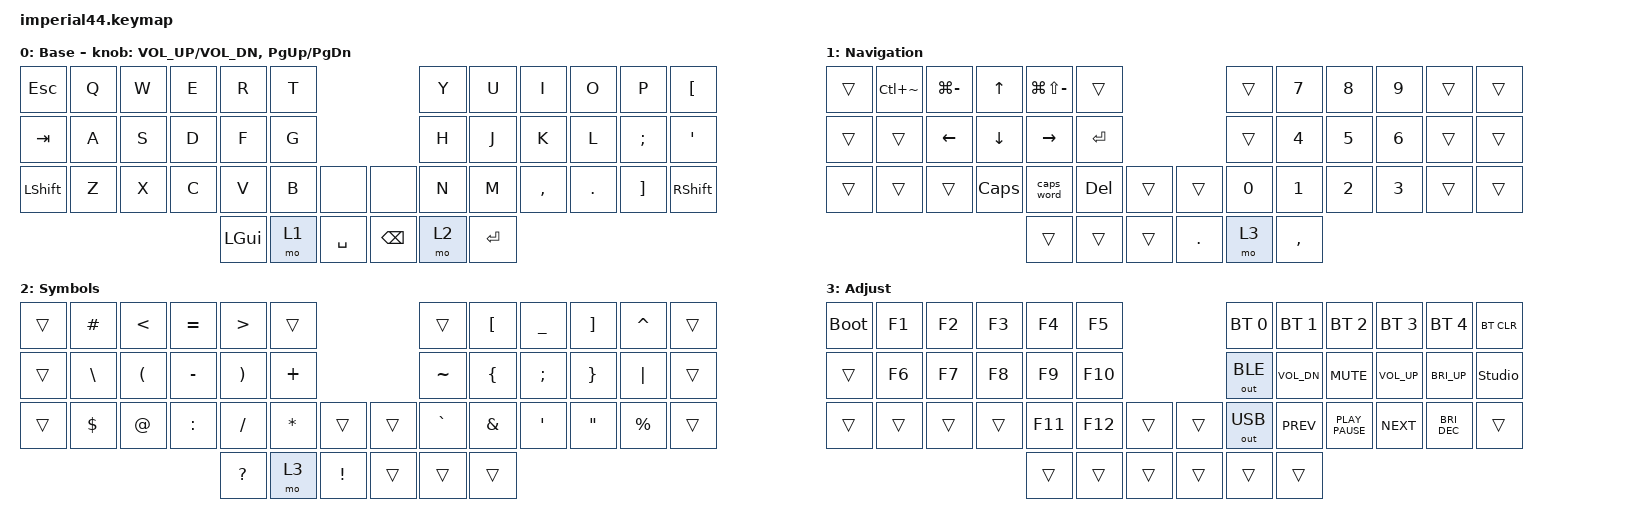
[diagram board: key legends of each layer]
#include "keys_ru.h"
#include <behaviors.dtsi>
#include <dt-bindings/zmk/bt.h>
#include <dt-bindings/zmk/keys.h>
#include <dt-bindings/zmk/outputs.h>

/ {
    keymap {
        compatible = "zmk,keymap";

        base {
            bindings = <
&kp ESC    &kp Q  &kp W  &kp E  &kp R         &kp T                              &kp Y  &kp U      &kp I      &kp O    &kp P              &kp LEFT_BRACKET
&kp TAB    &kp A  &kp S  &kp D  &kp F         &kp G                              &kp H  &kp J      &kp K      &kp L    &kp SEMI           &kp SINGLE_QUOTE
&kp LSHFT  &kp Z  &kp X  &kp C  &kp V         &kp B  &none        &none          &kp N  &kp M      &kp COMMA  &kp DOT  &kp RIGHT_BRACKET  &kp RSHFT
                                &kp LEFT_GUI  &mo 1  &kp SPACE    &kp BACKSPACE  &mo 2  &kp ENTER
            >;

            display-name = "Base";
            sensor-bindings =
                <&inc_dec_kp C_VOL_UP C_VOL_DN>,
                <&inc_dec_kp PG_UP PG_DN>;
        };

        nav {
            bindings = <
&trans  &kp LC(TILDE)  &kp LG(MINUS)  &kp UP    &kp LG(LS(MINUS))  &trans                            &trans  &kp N7        &kp N8        &kp N9        &trans  &trans
&trans  &trans         &kp LEFT       &kp DOWN  &kp RIGHT          &kp ENTER                         &trans  &kp NUMBER_4  &kp NUMBER_5  &kp N6        &trans  &trans
&trans  &trans         &trans         &kp CAPS  &caps_word         &kp DELETE  &trans    &trans      &kp N0  &kp N1        &kp NUMBER_2  &kp NUMBER_3  &trans  &trans
                                                &trans             &trans      &trans    &kp PERIOD  &mo 3   &kp COMMA
            >;

            display-name = "Navigation";
        };

        sym {
            bindings = <
&trans  &kp HASH    &kp LT    &kp EQUAL  &kp GT        &trans                            &trans     &kp LBKT       &kp UNDER         &kp RBKT           &kp CARET    &trans
&trans  &kp BSLH    &kp LPAR  &kp MINUS  &kp RPAR      &kp PLUS                          &kp TILDE  &kp LBRC       &kp SEMI          &kp RBRC           &kp PIPE     &trans
&trans  &kp DOLLAR  &kp AT    &kp COLON  &kp FSLH      &kp ASTERISK  &trans      &trans  &kp GRAVE  &kp AMPERSAND  &kp SINGLE_QUOTE  &kp DOUBLE_QUOTES  &kp PERCENT  &trans
                                         &kp QUESTION  &mo 3         &kp EXCL    &trans  &trans     &trans
            >;

            display-name = "Symbols";
        };

        adj {
            bindings = <
&bootloader  &kp F1  &kp F2  &kp F3  &kp F4   &kp F5                     &bt BT_SEL 0  &bt BT_SEL 1  &bt BT_SEL 2      &bt BT_SEL 3  &bt BT_SEL 4   &bt BT_CLR
&trans       &kp F6  &kp F7  &kp F8  &kp F9   &kp F10                    &out OUT_BLE  &kp C_VOL_DN  &kp K_MUTE        &kp C_VOL_UP  &kp C_BRI_UP   &studio_unlock
&trans       &trans  &trans  &trans  &kp F11  &kp F12  &trans    &trans  &out OUT_USB  &kp K_PREV    &kp K_PLAY_PAUSE  &kp K_NEXT    &kp C_BRI_DEC  &trans
                                     &trans   &trans   &trans    &trans  &trans        &trans
            >;

            display-name = "Adjust";
        };
    };
};
